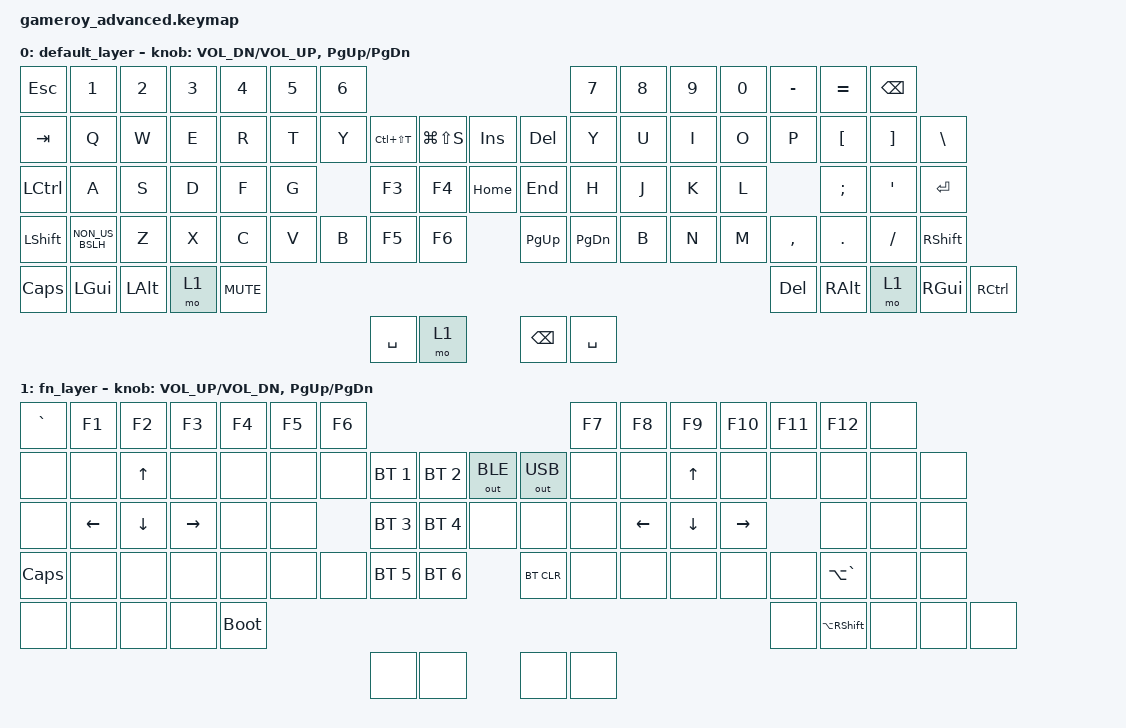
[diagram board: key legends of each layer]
#include <behaviors.dtsi>
#include <dt-bindings/zmk/keys.h>
#include <dt-bindings/zmk/bt.h>
#include <dt-bindings/zmk/outputs.h>

&mt {
    tapping-term-ms = <400>;
};

/ {
    keymap {
        compatible = "zmk,keymap";

        default_layer {
// --------------------------------------------------------------------------------------------------------------------------------------------------------------------
// |  ESC    |    1    |    2    |    3    |    4    |    5    |    6    |                                                                   |    7    |    8    |    9    |    0    |    -    |    =    |   BSPC  |
// |   TAB   |    Q    |    W    |    E    |    R    |    T    |    Y    |    | LC(LS(T)) |   LG(LS(S))    |                  |  INSERT  |   DEL   |    |    Y    |    U    |    I    |    O    |    P    |    [    |    ]    |    \    |
// |CTRL|    A    |    S    |    D    |    F    |    G    |              |   F3    |   F4    |                  |   HOME    | END   |    |    H    |    J    |    K    |    L    |   ;     |    '    |   ENTER |
// |  SHIFT  |    \    |    Z    |    X    |    C    |    V    |    B    |    |   F5    |   F6    |                  |   PG_UP   |   PG_DN  |    |    B    |    N    |    M    |    ,    |    .    |    /    |   SHIFT |
// |  CAPS   | GUI  |  ALT  |  Fn  |                                          |   MUTE  |                                      | DELETE |                                           | ALT |  Fn  |  GUI  |   CTRL  | 
// |                                                                |  SPACE  |   Fn    |                                      |  ENTER |  SPACE  |
// | Left enconder vol  down   up                                                                                     Right enconder page up down  
            bindings = <
	&kp ESC  &kp N1          &kp N2   &kp N3    &kp N4    &kp N5    &kp N6                                                                        &kp N7      &kp N8    &kp N9    &kp N0    &kp MINUS  &kp EQUAL  &kp BSPC
    &kp TAB   &kp Q      &kp W    &kp E     &kp R     &kp T     &kp Y     &kp LC(LS(T))     &kp LG(LS(S))                      &kp INSERT    &kp DEL       &kp Y       &kp U       &kp I     &kp O     &kp P     &kp LBKT   &kp RBKT   &kp BSLH
    &kp LCTRL &kp A      &kp S    &kp D     &kp F     &kp G               &kp F3     &kp F4                      &kp HOME    &kp END      &kp H       &kp J     &kp K     &kp L     &kp SEMI   &kp APOS   &kp ENTER
    &kp LSHIFT &kp NON_US_BSLH &kp Z    &kp X     &kp C     &kp V     &kp B     &kp F5     &kp F6                      &kp PG_UP   &kp PG_DN      &kp B       &kp N     &kp M     &kp COMMA &kp DOT    &kp SLASH  &kp RSHIFT
    &kp CAPS  &kp LGUI        &kp LALT &mo 1                                   &kp C_MUTE                                       &kp DEL                                   &kp RALT  &mo 1      &kp RGUI   &kp RCTRL
	                                                                  &kp SPACE &mo 1                                        &kp BSPC   &kp SPACE       
            >;

            sensor-bindings = <&inc_dec_kp C_VOL_DN C_VOL_UP  &inc_dec_kp PG_UP PG_DN>;
        };

        fn_layer {
// --------------------------------------------------------------------------------------------------------------------------------------------------------------------
// |  `/~     |   F1    |   F2    |   F3    |   F4    |   F5    |   F6    |                                                                   |   F7    |   F8    |   F9    |   F10   |   F11   |   F12   |         |
// |         |         |   UP    |         |         |         |         |    |  BT1    |  BT2    |                  |   BT    |  USB   |    |         |         |         |         |         |         |         |
// |         |  LEFT   |  DOWN   |  RIGHT  |         |         |              |  BT3    |  BT4    |                  |         |        |    |         |         |         |         |         |         |         |
// |         |         |         |         |         |         |         |    |  BT5    |  BT6    |                  |BT CLEAR |        |    |         |         |         |         |         |         |         |
// |         |      |       |       |                                         |  RESET  |                                      |        |                                           |      |       |     |         | 
// |                                                                |         |         |                                      |        |         |
// | Left enconder vol up down                                                                              Right enconder page up down  
            bindings = <
	&kp GRAVE     &kp F1         &kp F2    &kp F3    &kp F4   &kp F5   &kp F6                                                                     &kp F7      &kp F8    &kp F9    &kp F10    &kp F11  &kp F12     &none
    &none       &none          &kp UP    &none     &none    &none    &none      &bt BT_SEL 1 &bt BT_SEL 2         &out OUT_BLE   &out OUT_USB    &none      &none       &kp UP   &none     &none      &none     &none  &none
    &none       &kp LEFT       &kp DOWN  &kp RIGHT &none    &none               &bt BT_SEL 3 &bt BT_SEL 4         &none          &none           &none      &kp LEFT    &kp DOWN   &kp RIGHT     &none      &none     &none
    &kp CAPS    &none          &none     &none     &none    &none    &none      &bt BT_SEL 5 &bt BT_SEL 6         &bt BT_CLR     &none           &none      &none       &none   &none     &kp LA(GRAVE)      &none     &none
    &none       &none          &none     &none                                  &bootloader                                            &none                                                  &kp LA(RSHIFT)  &none   &none   &none
	                                                                            &none  &none                                            &none   &none       
            >;

            sensor-bindings = <&inc_dec_kp C_VOL_UP C_VOL_DN &inc_dec_kp PG_UP PG_DN>;
        };
    };
};
